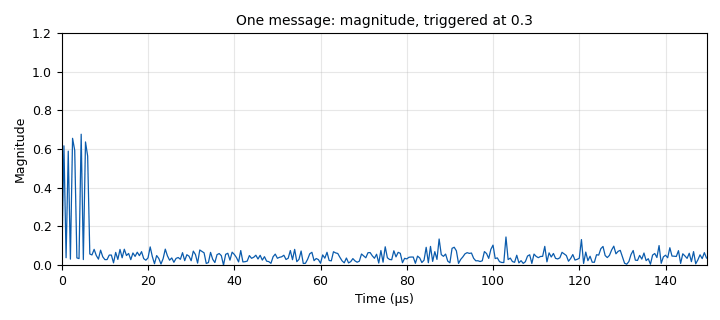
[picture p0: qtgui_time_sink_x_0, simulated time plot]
options:
  parameters:
    author: ECE 448
    description: 'L18: a simulated sky of four aircraft sending ADS-B extended squitters, built from pulse-position modulation (PPM) at 2 MS/s. Writes 0.5 s to L18-adsb-sim.sigmf-data and .sigmf-meta, labeled Simulated, then stops. Nothing transmits: the last block is a SigMF file sink. Never transmit this signal on 1090 MHz, which carries ATC and collision-avoidance traffic; L18-adsb-tx-pluto.grc sends it at 915 MHz into a cable instead.'
    generate_options: qt_gui
    id: L18_adsb_tx
    output_language: python
    title: L18 - ADS-B Out Generator
  states: {}

blocks:
- name: carrier
  id: variable
  parameters:
    value: 75e3
  states: {}
- name: duration
  id: variable
  parameters:
    value: '0.5'
  states: {}
- name: noise_amp
  id: variable_qtgui_range
  parameters:
    gui_hint: 0,0,1,2
    label: Noise amplitude
    start: '0'
    step: '0.01'
    stop: '0.5'
    value: '0.05'
  states: {}
- name: samp_rate
  id: variable
  parameters:
    value: 2e6
  states: {}
- name: analog_noise_source_x_0
  id: analog_noise_source_x
  parameters:
    amp: noise_amp
    noise_type: analog.GR_GAUSSIAN
    seed: '448'
    type: complex
  states: {}
- name: analog_sig_source_x_0
  id: analog_sig_source_x
  parameters:
    amp: '1'
    freq: carrier
    offset: '0'
    phase: '0'
    samp_rate: samp_rate
    type: complex
    waveform: analog.GR_COS_WAVE
  states: {}
- name: blocks_add_xx_0
  id: blocks_add_xx
  parameters:
    type: complex
  states: {}
- name: blocks_complex_to_mag_0
  id: blocks_complex_to_mag
  parameters: {}
  states: {}
- name: blocks_float_to_complex_0
  id: blocks_float_to_complex
  parameters: {}
  states: {}
- name: blocks_head_0
  id: blocks_head
  parameters:
    num_items: int(duration * samp_rate)
    type: float
  states: {}
- name: blocks_multiply_xx_0
  id: blocks_multiply_xx
  parameters:
    type: complex
  states: {}
- name: blocks_sigmf_sink_minimal_0
  id: blocks_sigmf_sink_minimal
  parameters:
    author: '''ECE 448'''
    center_freq: 1090e6
    description: '''Simulated ADS-B: four aircraft from L18-adsb-tx.grc, not a real capture'''
    filename: '''L18-adsb-sim.sigmf-data'''
    hw_info: '''L18-adsb-tx.grc'''
    sample_rate: samp_rate
    type: complex float (fc32_le)
  states: {}
- name: blocks_throttle2_0
  id: blocks_throttle2
  parameters:
    samples_per_second: samp_rate
    type: complex
  states: {}
- name: epy_block_0
  id: epy_block
  parameters:
    _source_code: |
      """ADS-B Out: a simulated sky of four aircraft, as Mode S extended squitters.

      Each message is 112 bits of pulse-position modulation (PPM) at 1 Mb/s after an
      8 us preamble. At 2 MS/s every bit is two samples, or chips: a 1 is a pulse
      then quiet (1, 0), and a 0 is quiet then a pulse (0, 1). The output is the
      pulse envelope, 0 or the aircraft's amplitude, ready to put on a carrier.

      The aircraft send ten or more times as often as real ones do, so a short
      recording holds dozens of messages. Edit AIRCRAFT to fly your own.

      Never transmit this on 1090 MHz: that frequency carries ATC and
      collision-avoidance traffic, and transmitting there is illegal. In this
      course it goes to a SigMF file (L18-adsb-tx.grc) or to a PlutoSDR at
      915 MHz, into a cable through a 30 dB attenuator (L18-adsb-tx-pluto.grc)."""

      import math

      import numpy as np
      from gnuradio import gr

      CHARS = '#ABCDEFGHIJKLMNOPQRSTUVWXYZ##### ###############0123456789######'

      # ICAO address, callsign, latitude, longitude, altitude (ft), ground speed (kt),
      # track (deg), vertical rate (ft/min), amplitude
      AIRCRAFT = [
          (0xA00448, 'ECE448', 38.912, -104.512, 9500, 140, 300, 0, 0.9),
          (0xAE1F21, 'FALCON21', 39.105, -104.702, 14025, 245, 175, -1600, 0.6),
          (0xA9A1B2, 'N731RG', 38.701, -104.950, 11300, 118, 20, 640, 0.35),
          (0xA5C3D7, 'SKW3301', 39.402, -104.388, 23875, 386, 228, -1984, 0.2),
      ]


      def bits(v, n):
          return [(v >> (n - 1 - i)) & 1 for i in range(n)]


      def parity(b):
          """The 24 parity bits of an 88-bit message: generator 0x1FFF409."""
          reg = 0
          for x in b + [0] * 24:
              reg = (reg << 1) | x
              if reg & 0x1000000:
                  reg ^= 0x1FFF409
          return bits(reg, 24)


      def nl(lat):
          if abs(lat) >= 87:
              return 1
          a = 1 - math.cos(math.pi / 30)
          return int(2 * math.pi / math.acos(1 - a / math.cos(math.radians(lat)) ** 2))


      def ident(cs):
          me = bits(4, 5) + bits(3, 3)
          for c in (cs + ' ' * 8)[:8]:
              me += bits(CHARS.index(c), 6)
          return me


      def position(alt, lat, lon, odd):
          n = bits(int(round((alt + 1000) / 25)), 11)
          dlat = 360 / (59 if odd else 60)
          yz = int(2 ** 17 * (lat % dlat) / dlat + 0.5)
          rlat = dlat * (yz / 2 ** 17 + math.floor(lat / dlat))
          dlon = 360 / max(nl(rlat) - odd, 1)
          xz = int(2 ** 17 * (lon % dlon) / dlon + 0.5)
          return (bits(11, 5) + [0, 0, 0] + n[:7] + [1] + n[7:] + [0, odd]
                  + bits(yz % 2 ** 17, 17) + bits(xz % 2 ** 17, 17))


      def velocity(gs, trk, vr):
          ve, vn = gs * math.sin(math.radians(trk)), gs * math.cos(math.radians(trk))
          return (bits(19, 5) + bits(1, 3) + [0, 0, 0, 0, 0]
                  + [int(ve < 0)] + bits(int(round(abs(ve))) + 1, 10)
                  + [int(vn < 0)] + bits(int(round(abs(vn))) + 1, 10)
                  + [1, int(vr < 0)] + bits(int(round(abs(vr) / 64)) + 1, 9) + [0] * 10)


      def chips(icao, me):
          """Preamble plus 112 bits of PPM: 16 + 224 chips."""
          b = bits(17, 5) + bits(5, 3) + bits(icao, 24) + me
          b += parity(b)
          out = [1, 0, 1, 0, 0, 0, 0, 1, 0, 1, 0, 0, 0, 0, 0, 0]
          for x in b:
              out += [1, 0] if x else [0, 1]
          return np.array(out, dtype=np.float32)


      class blk(gr.sync_block):
          def __init__(self, samp_rate=2e6, seed=18):
              gr.sync_block.__init__(self, name='ADS-B Out', in_sig=None, out_sig=[np.float32])
              self.fs = samp_rate
              self.rng = np.random.default_rng(seed)
              self.queue = []          # (start sample, chips)
              self.planned = 0         # samples scheduled so far
              self.slot = 0

          def plan(self, upto):
              """Schedule messages from every aircraft up to sample `upto`."""
              while self.planned < upto:
                  t0, t1 = self.planned, self.planned + int(0.05 * self.fs)
                  for k, (icao, cs, lat, lon, alt, gs, trk, vr, amp) in enumerate(AIRCRAFT):
                      t = t0 / self.fs
                      d = gs * t / 3600 / 60          # degrees of latitude flown
                      la = lat + d * math.cos(math.radians(trk))
                      lo = lon + d * math.sin(math.radians(trk)) / math.cos(math.radians(lat))
                      # position every slot, even and odd in turn; velocity every
                      # second slot; identification every third
                      msgs = [position(alt + vr * t / 60, la, lo, self.slot % 2)]
                      if (self.slot + k) % 2 == 0:
                          msgs.append(velocity(gs, trk, vr))
                      if (self.slot + k) % 3 == 0:
                          msgs.append(ident(cs))
                      for me in msgs:
                          start = int(self.rng.integers(t0, t1))
                          self.queue.append((start, amp * chips(icao, me)))
                  self.planned = t1
                  self.slot += 1

          def work(self, input_items, output_items):
              out = output_items[0]
              n0 = self.nitems_written(0)
              self.plan(n0 + len(out) + 1)
              out[:] = 0
              keep = []
              for start, c in self.queue:
                  a, b = max(start, n0), min(start + len(c), n0 + len(out))
                  if a < b:
                      out[a - n0:b - n0] += c[a - start:b - start]
                  if start + len(c) > n0 + len(out):
                      keep.append((start, c))
              self.queue = keep
              return len(out)
    samp_rate: samp_rate
    seed: '18'
  states: {}
- name: qtgui_time_sink_x_0
  id: qtgui_time_sink_x
  parameters:
    entags: 'False'
    grid: 'True'
    gui_hint: 1,0,1,2
    legend: 'False'
    name: '"One message: magnitude, triggered at 0.3"'
    size: '300'
    srate: samp_rate
    tr_delay: '5e-6'
    tr_level: '0.3'
    tr_mode: qtgui.TRIG_MODE_NORM
    type: float
    update_time: '0.1'
    ylabel: '"Magnitude"'
    ymax: '1.2'
    ymin: '0'
  states: {}

connections:
- [analog_noise_source_x_0, '0', blocks_add_xx_0, '1']
- [analog_sig_source_x_0, '0', blocks_multiply_xx_0, '1']
- [blocks_add_xx_0, '0', blocks_throttle2_0, '0']
- [blocks_complex_to_mag_0, '0', qtgui_time_sink_x_0, '0']
- [blocks_float_to_complex_0, '0', blocks_multiply_xx_0, '0']
- [blocks_head_0, '0', blocks_float_to_complex_0, '0']
- [blocks_multiply_xx_0, '0', blocks_add_xx_0, '0']
- [blocks_throttle2_0, '0', blocks_complex_to_mag_0, '0']
- [blocks_throttle2_0, '0', blocks_sigmf_sink_minimal_0, '0']
- [epy_block_0, '0', blocks_head_0, '0']

metadata:
  file_format: 1
  grc_version: 3.10.9.2
